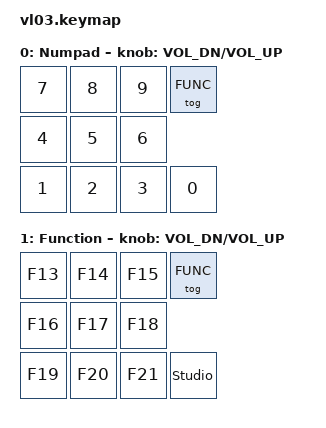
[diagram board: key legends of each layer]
#include <behaviors.dtsi>
#include <dt-bindings/zmk/keys.h>

#define NUMPAD 0
#define FUNC   1

/ {
    keymap {
        compatible = "zmk,keymap";

        // ------------------------------------------------------------------
        //  Layer 0 - Numpad
        //   7   8   9   (encoder switch = toggle Function layer)
        //   4   5   6
        //   1   2   3   0
        //  Encoder rotate = volume down / up
        // ------------------------------------------------------------------
        numpad_layer {
            display-name = "Numpad";
            bindings = <
                &kp N7  &kp N8  &kp N9  &tog FUNC
                &kp N4  &kp N5  &kp N6
                &kp N1  &kp N2  &kp N3  &kp N0
            >;
            sensor-bindings = <&inc_dec_kp C_VOL_DN C_VOL_UP>;
        };

        // ------------------------------------------------------------------
        //  Layer 1 - Function (F13-F21)
        //   F13  F14  F15  (encoder switch = toggle back to Numpad)
        //   F16  F17  F18
        //   F19  F20  F21  studio_unlock
        //  Encoder rotate = volume down / up
        //  Tap the "0" key here to unlock ZMK Studio for editing.
        // ------------------------------------------------------------------
        function_layer {
            display-name = "Function";
            bindings = <
                &kp F13  &kp F14  &kp F15  &tog FUNC
                &kp F16  &kp F17  &kp F18
                &kp F19  &kp F20  &kp F21  &studio_unlock
            >;
            sensor-bindings = <&inc_dec_kp C_VOL_DN C_VOL_UP>;
        };
    };
};
